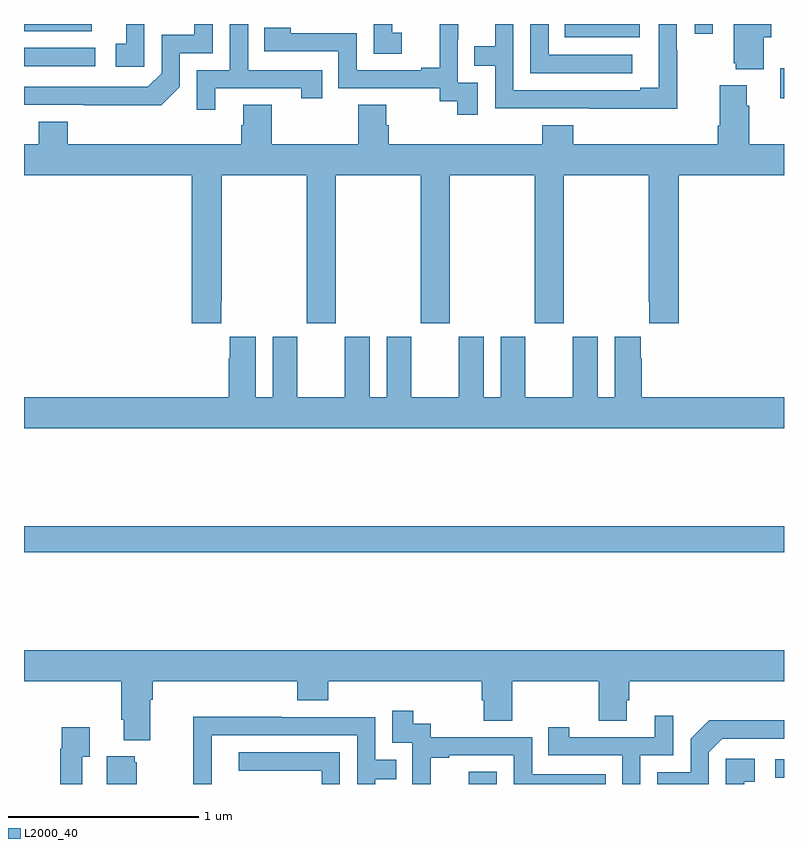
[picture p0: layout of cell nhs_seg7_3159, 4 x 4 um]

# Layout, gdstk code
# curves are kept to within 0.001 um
import gdstk
lib = gdstk.Library(unit=1e-6, precision=1e-09)
def R(c, l, rs):  # rectangles x0, y0, x1, y1
    for r in rs: c.add(gdstk.rectangle(r[:2], r[2:], *l))
def P(c, l, *ps):  # polygons
    for p in ps: c.add(gdstk.Polygon(p, *l))
L2000_40 = (2000, 40)

nhs_seg7_3159 = lib.new_cell('nhs_seg7_3159')
R(nhs_seg7_3159, L2000_40, [(313.341,1076,313.488,1076.065), (314.955,1076.034,315,1076.13), (311,1077.22,315,1077.356), (314.981,1079.61,315,1079.766), (311,1079.778,311.374,1079.874), (313.846,1079.93,314.242,1080), (314.529,1079.949,314.625,1080), (311,1079.963,311.356,1080)])
P(nhs_seg7_3159, L2000_40, [(312.988,1079.953),(312.939,1079.953),(312.939,1080),(312.84,1080),(312.84,1079.844),(312.988,1079.844)],
  [(311.82,1079.67),(311.82,1079.847),(311.994,1079.847),(311.994,1080),(311.897,1080),(311.897,1079.943),(311.724,1079.943),(311.724,1079.742),(311.652,1079.67),(311,1079.67),(311,1079.574),(311.722,1079.573)],
  [(311.634,1080),(311.537,1080),(311.537,1079.895),(311.484,1079.895),(311.484,1079.775),(311.634,1079.775)],
  [(314.439,1079.861),(314.436,1079.861),(314.436,1080),(314.34,1080),(314.34,1079.665),(314.243,1079.665),(314.243,1079.652),(313.575,1079.652),(313.575,1080),(313.479,1080),(313.479,1079.882),(313.369,1079.882),(313.369,1079.781),(313.479,1079.781),(313.479,1079.556),(313.975,1079.556),(313.975,1079.555),(314.439,1079.555)],
  [(314.2,1079.838),(313.761,1079.838),(313.761,1080),(313.665,1080),(313.665,1079.742),(314.2,1079.742)],
  [(313.389,1079.691),(313.284,1079.691),(313.284,1079.921),(313.286,1079.921),(313.286,1080),(313.187,1080),(313.187,1079.77),(313.091,1079.77),(313.091,1079.757),(312.75,1079.757),(312.75,1079.952),(312.405,1079.952),(312.405,1079.979),(312.265,1079.979),(312.265,1079.856),(312.654,1079.856),(312.654,1079.661),(313.188,1079.661),(313.188,1079.593),(313.281,1079.593),(313.281,1079.523),(313.389,1079.523)],
  [(312.007,1079.661),(312.458,1079.661),(312.458,1079.61),(312.569,1079.61),(312.569,1079.757),(312.18,1079.757),(312.18,1080),(312.084,1080),(312.084,1079.757),(311.91,1079.757),(311.91,1079.55),(312.007,1079.55)],
  [(314.893,1079.93),(314.932,1079.93),(314.932,1080),(314.735,1080),(314.735,1079.793),(314.747,1079.793),(314.747,1079.762),(314.893,1079.762)],
  [(312.037,1078.537),(312.042,1078.537),(312.042,1079.204),(312.487,1079.204),(312.487,1078.425),(312.642,1078.425),(312.642,1079.204),(313.087,1079.204),(313.087,1078.425),(313.242,1078.425),(313.242,1079.204),(313.687,1079.204),(313.687,1078.425),(313.842,1078.425),(313.842,1079.204),(314.287,1079.204),(314.287,1078.537),(314.291,1078.537),(314.291,1078.425),(314.447,1078.425),(314.447,1079.204),(315,1079.204),(315,1079.368),(314.816,1079.368),(314.816,1079.57),(314.803,1079.57),(314.803,1079.677),(314.663,1079.677),(314.663,1079.464),(314.651,1079.464),(314.651,1079.368),(313.892,1079.368),(313.892,1079.467),(313.727,1079.467),(313.727,1079.368),(312.92,1079.368),(312.92,1079.466),(312.907,1079.466),(312.907,1079.576),(312.76,1079.576),(312.76,1079.368),(312.303,1079.368),(312.303,1079.576),(312.155,1079.576),(312.155,1079.466),(312.143,1079.466),(312.143,1079.368),(311.231,1079.368),(311.231,1079.485),(311.078,1079.485),(311.078,1079.368),(311,1079.368),(311,1079.204),(311.882,1079.204),(311.882,1078.425),(312.037,1078.425)],
  [(315,1078.036),(314.252,1078.036),(314.252,1078.241),(314.245,1078.241),(314.245,1078.354),(314.108,1078.354),(314.108,1078.036),(314.02,1078.036),(314.02,1078.354),(313.889,1078.354),(313.889,1078.036),(313.639,1078.036),(313.639,1078.354),(313.508,1078.354),(313.508,1078.036),(313.42,1078.036),(313.42,1078.354),(313.289,1078.354),(313.289,1078.036),(313.039,1078.036),(313.039,1078.354),(312.908,1078.354),(312.908,1078.036),(312.82,1078.036),(312.82,1078.354),(312.689,1078.354),(312.689,1078.036),(312.439,1078.036),(312.439,1078.354),(312.308,1078.354),(312.308,1078.036),(312.22,1078.036),(312.22,1078.354),(312.083,1078.354),(312.083,1078.241),(312.077,1078.241),(312.077,1078.036),(311,1078.036),(311,1077.872),(315,1077.872)],
  [(311,1076.54),(311.513,1076.54),(311.513,1076.338),(311.525,1076.338),(311.525,1076.231),(311.665,1076.231),(311.665,1076.444),(311.678,1076.444),(311.678,1076.54),(312.437,1076.54),(312.437,1076.441),(312.602,1076.441),(312.602,1076.54),(313.409,1076.54),(313.409,1076.442),(313.421,1076.442),(313.421,1076.332),(313.569,1076.332),(313.569,1076.54),(314.026,1076.54),(314.026,1076.332),(314.173,1076.332),(314.173,1076.442),(314.186,1076.442),(314.186,1076.54),(315,1076.54),(315,1076.704),(311,1076.704)],
  [(313.142,1076.139),(313.237,1076.139),(313.237,1076.151),(313.578,1076.151),(313.578,1076),(314.063,1076),(314.063,1076.052),(313.674,1076.052),(313.674,1076.247),(313.14,1076.247),(313.14,1076.316),(313.048,1076.316),(313.048,1076.386),(312.939,1076.386),(312.939,1076.217),(313.044,1076.217),(313.044,1076),(313.142,1076)],
  [(314.244,1076.151),(314.418,1076.151),(314.418,1076.359),(314.321,1076.359),(314.321,1076.247),(313.87,1076.247),(313.87,1076.299),(313.759,1076.299),(313.759,1076.151),(314.148,1076.151),(314.148,1076),(314.244,1076)],
  [(311.988,1076.256),(312.753,1076.256),(312.753,1076),(312.849,1076),(312.849,1076.026),(312.959,1076.026),(312.959,1076.127),(312.849,1076.127),(312.849,1076.352),(312.353,1076.352),(312.353,1076.354),(311.89,1076.354),(311.89,1076.047),(311.892,1076.047),(311.892,1076),(311.988,1076)],
  [(314.604,1076.166),(314.676,1076.238),(315,1076.238),(315,1076.336),(314.606,1076.336),(314.508,1076.238),(314.508,1076.061),(314.334,1076.061),(314.334,1076),(314.604,1076)],
  [(311.307,1076.143),(311.347,1076.143),(311.347,1076.299),(311.199,1076.299),(311.199,1076.186),(311.191,1076.186),(311.191,1076),(311.307,1076)],
  [(312.663,1076.166),(312.129,1076.166),(312.129,1076.07),(312.567,1076.07),(312.567,1076),(312.663,1076)],
  [(311.593,1076.115),(311.582,1076.115),(311.582,1076.146),(311.435,1076.146),(311.435,1076),(311.593,1076)],
  [(314.792,1076.013),(314.845,1076.013),(314.845,1076.134),(314.694,1076.134),(314.694,1076),(314.792,1076)])

lib.write_gds('nhs_seg7_3159.gds')
